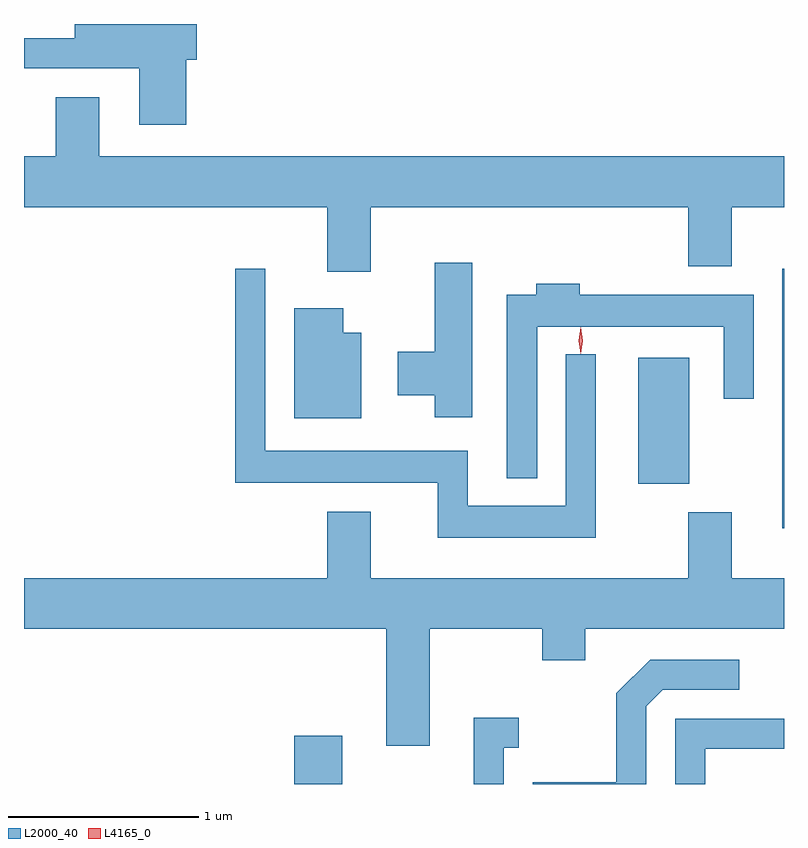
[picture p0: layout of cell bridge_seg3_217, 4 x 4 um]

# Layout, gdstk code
import gdstk
lib = gdstk.Library(unit=1e-6, precision=1e-09)
def R(c, l, rs):  # rectangles x0, y0, x1, y1
    for r in rs: c.add(gdstk.rectangle(r[:2], r[2:], *l))
def P(c, l, *ps):  # polygons
    for p in ps: c.add(gdstk.Polygon(p, *l))
L2000_40 = (2000, 40)
L4165_0 = (4165, 0)

bridge_seg3_217 = lib.new_cell('bridge_seg3_217')
R(bridge_seg3_217, L2000_40, [(921.996,1149.62,922.249,1149.874), (924.566,1150.966,924.574,1152.333), (923.806,1151.201,924.074,1151.864)])
P(bridge_seg3_217, L2000_40, [(921.429,1153.431),(921.484,1153.431),(921.484,1153.62),(920.841,1153.62),(920.841,1153.544),(920.574,1153.544),(920.574,1153.386),(921.181,1153.386),(921.181,1153.091),(921.429,1153.091)],
  [(922.399,1152.656),(924.071,1152.656),(924.071,1152.346),(924.299,1152.346),(924.299,1152.656),(924.574,1152.656),(924.574,1152.924),(920.969,1152.924),(920.969,1153.234),(920.741,1153.234),(920.741,1152.924),(920.574,1152.924),(920.574,1152.656),(922.171,1152.656),(922.171,1152.316),(922.399,1152.316)],
  [(922.934,1152.364),(922.736,1152.364),(922.736,1151.894),(922.541,1151.894),(922.541,1151.666),(922.736,1151.666),(922.736,1151.551),(922.934,1151.551)],
  [(923.584,1151.883),(923.426,1151.883),(923.426,1151.084),(922.909,1151.084),(922.909,1151.374),(921.844,1151.374),(921.844,1152.333),(921.686,1152.333),(921.686,1151.206),(922.751,1151.206),(922.751,1150.916),(923.584,1150.916)],
  [(923.274,1152.026),(924.256,1152.026),(924.256,1151.648),(924.414,1151.648),(924.414,1152.194),(923.499,1152.194),(923.499,1152.254),(923.271,1152.254),(923.271,1152.194),(923.116,1152.194),(923.116,1151.228),(923.274,1151.228)],
  [(922.349,1151.994),(922.254,1151.994),(922.254,1152.124),(921.996,1152.124),(921.996,1151.546),(922.349,1151.546)],
  [(922.709,1150.436),(923.301,1150.436),(923.301,1150.271),(923.529,1150.271),(923.529,1150.436),(924.574,1150.436),(924.574,1150.704),(924.299,1150.704),(924.299,1151.049),(924.071,1151.049),(924.071,1150.704),(922.399,1150.704),(922.399,1151.054),(922.171,1151.054),(922.171,1150.704),(920.574,1150.704),(920.574,1150.436),(922.481,1150.436),(922.481,1149.821),(922.709,1149.821)],
  [(923.849,1150.029),(923.937,1150.116),(924.338,1150.116),(924.338,1150.274),(923.869,1150.274),(923.691,1150.097),(923.691,1149.629),(923.251,1149.629),(923.251,1149.62),(923.849,1149.62)],
  [(923.099,1149.811),(923.178,1149.811),(923.178,1149.969),(922.941,1149.969),(922.941,1149.62),(923.099,1149.62)],
  [(924.159,1149.806),(924.574,1149.806),(924.574,1149.964),(924.001,1149.964),(924.001,1149.62),(924.159,1149.62)])
P(bridge_seg3_217, L4165_0, [(923.504,1151.884),(923.495,1151.954),(923.504,1152.023),(923.505,1152.023),(923.505,1152.023),(923.515,1151.954),(923.505,1151.884),(923.505,1151.884)],
  [(923.505,1151.887),(923.504,1151.888),(923.495,1151.954),(923.504,1152.02),(923.505,1152.021),(923.505,1152.02),(923.515,1151.954),(923.505,1151.888)])

lib.write_gds('bridge_seg3_217.gds')
